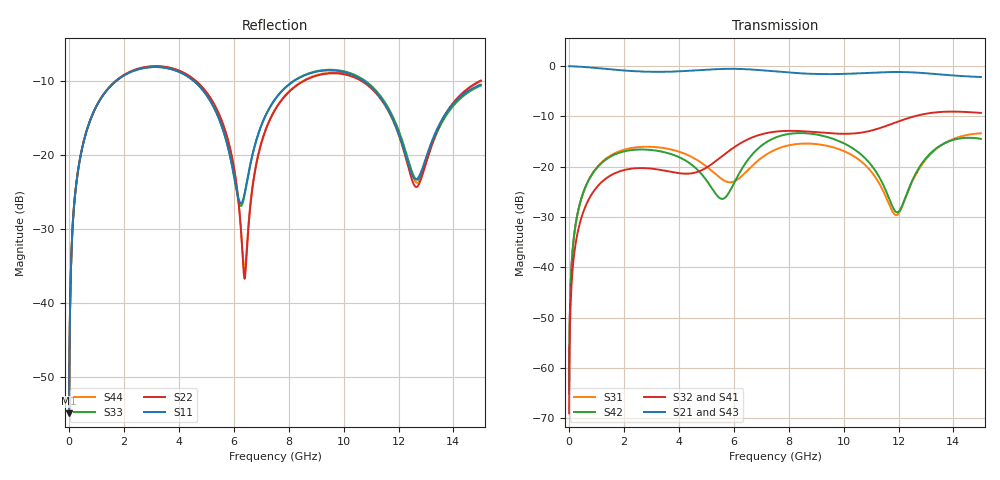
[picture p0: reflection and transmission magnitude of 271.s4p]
! Created with skrf 1.8.0 (http://scikit-rf.org).
# GHz S RI R 50.0
!freq ReS11 ImS11 ReS12 ImS12 ReS13 ImS13
! ReS14 ImS14
! ReS21 ImS21 ReS22 ImS22 ReS23 ImS23
! ReS24 ImS24
! ReS31 ImS31 ReS32 ImS32 ReS33 ImS33
! ReS34 ImS34
! ReS41 ImS41 ReS42 ImS42 ReS43 ImS43
! ReS44 ImS44
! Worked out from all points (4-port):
!   2499 points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, 5 MHz to 15 GHz, reference 50 ohm
!   strongest paths, dB at 5 MHz, 3.476 GHz, 7.19 GHz, 11.1 GHz, 15 GHz:
!     S21: 0.0, -1.1, -0.9, -1.3, -2.2
!     S43: 0.0, -1.1, -0.9, -1.3, -2.1
!     S32: -69.0, -20.8, -13.3, -12.7, -9.3
!     S41: -69.0, -20.8, -13.3, -12.7, -9.3
!     S42: -65.1, -17.1, -15.1, -20.3, -14.5
!     S31: -65.1, -16.3, -17.6, -21.6, -13.4
!   lowest |S11| = -54.9 dB at 5 MHz (marker M1), VSWR 1.00, Z = 50.1 + j0.109 ohm
!   |S11| at or under -10 dB: start of sweep to 1.716 GHz; 4.545 GHz to 8.194 GHz (3.649 GHz wide, 57.3 % of centre); 10.74 GHz to end of sweep
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0.005  0.00142 0.00108  0.9986 -0.00277  7.05e-05 0.000552  -6.85e-05 -0.000347
       0.9986 -0.00277  0.00142 0.00108  -6.85e-05 -0.000347  7.03e-05 0.000552
       7.05e-05 0.000552  -6.85e-05 -0.000347  0.00142 0.00108  0.9986 -0.00277
       -6.85e-05 -0.000347  7.03e-05 0.000552  0.9986 -0.00277  0.00142 0.00108
0.3126303  0.0189 0.0721  0.9743 -0.1733  0.00872 0.0331  -0.00695 -0.0208
           0.9743 -0.1733  0.019 0.0721  -0.00695 -0.0208  0.00791 0.0333
           0.00872 0.0331  -0.00695 -0.0208  0.0189 0.0721  0.9743 -0.1733
           -0.00695 -0.0208  0.00791 0.0333  0.9743 -0.1733  0.019 0.0721
1.569404  0.2294 0.1918  0.6301 -0.6783  0.1162 0.0622  -0.0813 -0.0189
          0.6301 -0.6783  0.233 0.1899  -0.0813 -0.0189  0.1039 0.0758
          0.1162 0.0622  -0.0813 -0.0189  0.2294 0.1918  0.63 -0.6784
          -0.0813 -0.0189  0.1039 0.0758  0.63 -0.6784  0.233 0.1899
4.945811  0.1976 -0.1742  -0.6537 -0.6453  -0.00349 -0.1034  -0.0497 0.0821
          -0.6537 -0.6453  0.1857 -0.2014  -0.0498 0.0819  0.0728 -0.0254
          -0.00349 -0.1034  -0.0498 0.0819  0.1969 -0.1748  -0.6538 -0.6452
          -0.0497 0.0821  0.0728 -0.0254  -0.6538 -0.6452  0.1863 -0.2008
6.296373  0.0474 0.00451  -0.9331 -0.0679  -0.0592 0.0553  -0.00916 0.174
          -0.9331 -0.0679  0.0139 -0.021  -0.0097 0.174  0.0632 0.0713
          -0.0592 0.0553  -0.0097 0.174  0.0455 0.00519  -0.9331 -0.0674
          -0.00916 0.174  0.0632 0.0713  -0.9331 -0.0674  0.0157 -0.0202
10.27303  0.3333 -0.1119  0.1859 0.8207  0.1 -0.086  0.1894 -0.0976
          0.1859 0.8207  0.3298 -0.0862  0.1898 -0.0971  0.1015 -0.1186
          0.1 -0.086  0.1898 -0.0971  0.3382 -0.1113  0.1854 0.819
          0.1894 -0.0976  0.1015 -0.1186  0.1854 0.819  0.334 -0.0892
15  0.288 0.0814  0.4416 -0.6427  0.2102 -0.044  -0.3159 -0.1304
    0.4416 -0.6427  0.2999 0.1074  -0.3161 -0.1323  0.1887 0.00966
    0.2102 -0.044  -0.3161 -0.1323  0.282 0.0845  0.4417 -0.6441
    -0.3159 -0.1304  0.1887 0.00966  0.4417 -0.6441  0.3003 0.099
